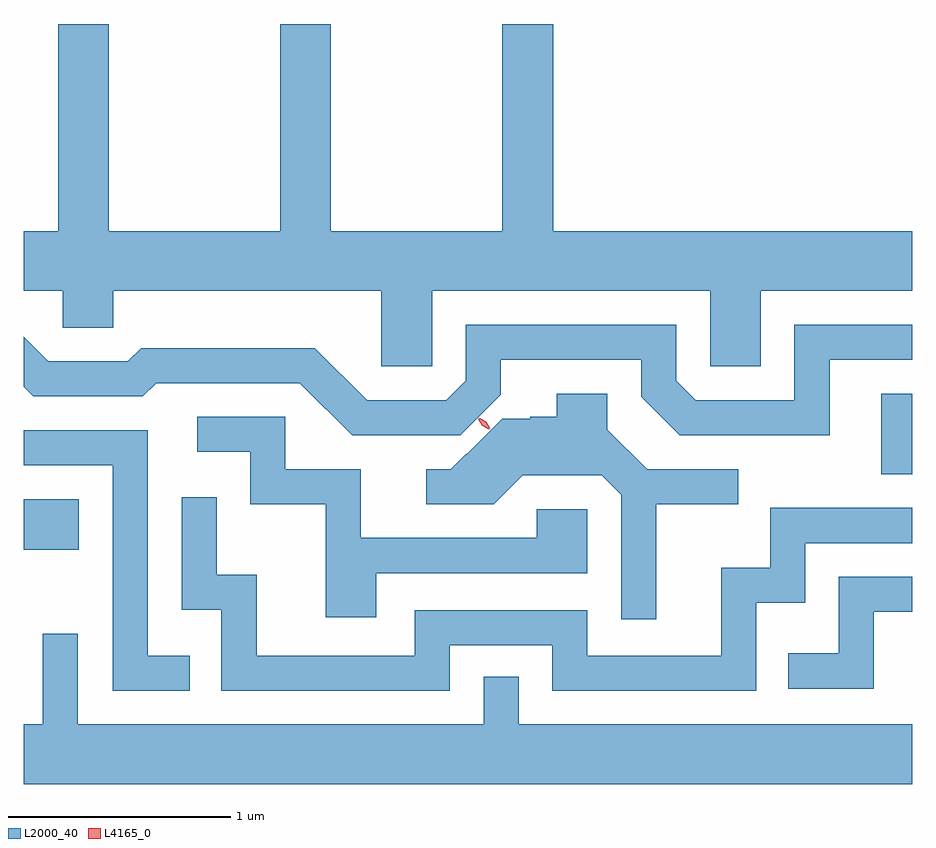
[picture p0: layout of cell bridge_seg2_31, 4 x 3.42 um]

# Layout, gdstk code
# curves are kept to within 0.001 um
import gdstk
lib = gdstk.Library(unit=1e-6, precision=1e-09)
def R(c, l, rs):  # rectangles x0, y0, x1, y1
    for r in rs: c.add(gdstk.rectangle(r[:2], r[2:], *l))
def P(c, l, *ps):  # polygons
    for p in ps: c.add(gdstk.Polygon(p, *l))
L2000_40 = (2000, 40)
L4165_0 = (4165, 0)

bridge_seg2_31 = lib.new_cell('bridge_seg2_31')
R(bridge_seg2_31, L2000_40, [(1906.581,1007.191,1906.829,1007.419), (1910.441,1007.531,1910.581,1007.894)])
P(bridge_seg2_31, L2000_40, [(1908.419,1008.356),(1909.671,1008.356),(1909.671,1008.016),(1909.899,1008.016),(1909.899,1008.356),(1910.581,1008.356),(1910.581,1008.624),(1908.964,1008.624),(1908.964,1009.558),(1908.736,1009.558),(1908.736,1008.624),(1907.964,1008.624),(1907.964,1009.558),(1907.736,1009.558),(1907.736,1008.624),(1906.964,1008.624),(1906.964,1009.558),(1906.736,1009.558),(1906.736,1008.624),(1906.581,1008.624),(1906.581,1008.356),(1906.756,1008.356),(1906.756,1008.191),(1906.984,1008.191),(1906.984,1008.356),(1908.191,1008.356),(1908.191,1008.016),(1908.419,1008.016)],
  [(1908.45,1007.707),(1908.547,1007.707),(1908.729,1007.889),(1908.729,1008.046),(1909.361,1008.046),(1909.361,1007.879),(1909.534,1007.706),(1910.209,1007.706),(1910.209,1008.046),(1910.581,1008.046),(1910.581,1008.204),(1910.051,1008.204),(1910.051,1007.864),(1909.607,1007.864),(1909.519,1007.952),(1909.519,1008.204),(1908.571,1008.204),(1908.571,1007.952),(1908.484,1007.864),(1908.127,1007.864),(1907.892,1008.099),(1907.109,1008.099),(1907.049,1008.039),(1906.692,1008.039),(1906.581,1008.15),(1906.581,1007.924),(1906.624,1007.881),(1907.117,1007.881),(1907.177,1007.941),(1907.824,1007.941),(1908.059,1007.706)],
  [(1909.429,1007.396),(1909.798,1007.396),(1909.798,1007.554),(1909.387,1007.554),(1909.209,1007.732),(1909.209,1007.894),(1908.981,1007.894),(1908.981,1007.789),(1908.862,1007.789),(1908.862,1007.781),(1908.735,1007.781),(1908.575,1007.621),(1908.573,1007.623),(1908.504,1007.554),(1908.393,1007.554),(1908.393,1007.396),(1908.697,1007.396),(1908.827,1007.526),(1909.184,1007.526),(1909.271,1007.439),(1909.271,1006.878),(1909.429,1006.878)],
  [(1908.169,1007.086),(1909.119,1007.086),(1909.119,1007.374),(1908.891,1007.374),(1908.891,1007.244),(1908.099,1007.244),(1908.099,1007.554),(1907.759,1007.554),(1907.759,1007.789),(1907.363,1007.789),(1907.363,1007.631),(1907.601,1007.631),(1907.601,1007.396),(1907.941,1007.396),(1907.941,1006.886),(1908.169,1006.886)],
  [(1907.328,1006.714),(1907.139,1006.714),(1907.139,1007.729),(1906.581,1007.729),(1906.581,1007.571),(1906.981,1007.571),(1906.981,1006.556),(1907.328,1006.556)],
  [(1908.499,1006.761),(1908.961,1006.761),(1908.961,1006.556),(1909.879,1006.556),(1909.879,1006.951),(1910.099,1006.951),(1910.099,1007.221),(1910.581,1007.221),(1910.581,1007.379),(1909.941,1007.379),(1909.941,1007.109),(1909.721,1007.109),(1909.721,1006.714),(1909.119,1006.714),(1909.119,1006.919),(1908.341,1006.919),(1908.341,1006.714),(1907.629,1006.714),(1907.629,1007.079),(1907.449,1007.079),(1907.449,1007.428),(1907.291,1007.428),(1907.291,1006.921),(1907.471,1006.921),(1907.471,1006.556),(1908.499,1006.556)],
  [(1910.409,1006.911),(1910.581,1006.911),(1910.581,1007.069),(1910.251,1007.069),(1910.251,1006.724),(1910.023,1006.724),(1910.023,1006.566),(1910.409,1006.566)],
  [(1910.581,1006.404),(1908.809,1006.404),(1908.809,1006.618),(1908.651,1006.618),(1908.651,1006.404),(1906.824,1006.404),(1906.824,1006.813),(1906.666,1006.813),(1906.666,1006.404),(1906.581,1006.404),(1906.581,1006.136),(1910.581,1006.136)])
P(bridge_seg2_31, L4165_0, [(1908.682,1007.736),(1908.65,1007.754),(1908.631,1007.786),(1908.631,1007.786),(1908.632,1007.786),(1908.664,1007.768),(1908.682,1007.736),(1908.682,1007.736)],
  [(1908.675,1007.733),(1908.645,1007.749),(1908.628,1007.779),(1908.628,1007.78),(1908.629,1007.78),(1908.659,1007.764),(1908.676,1007.734),(1908.676,1007.733)])

lib.write_gds('bridge_seg2_31.gds')
